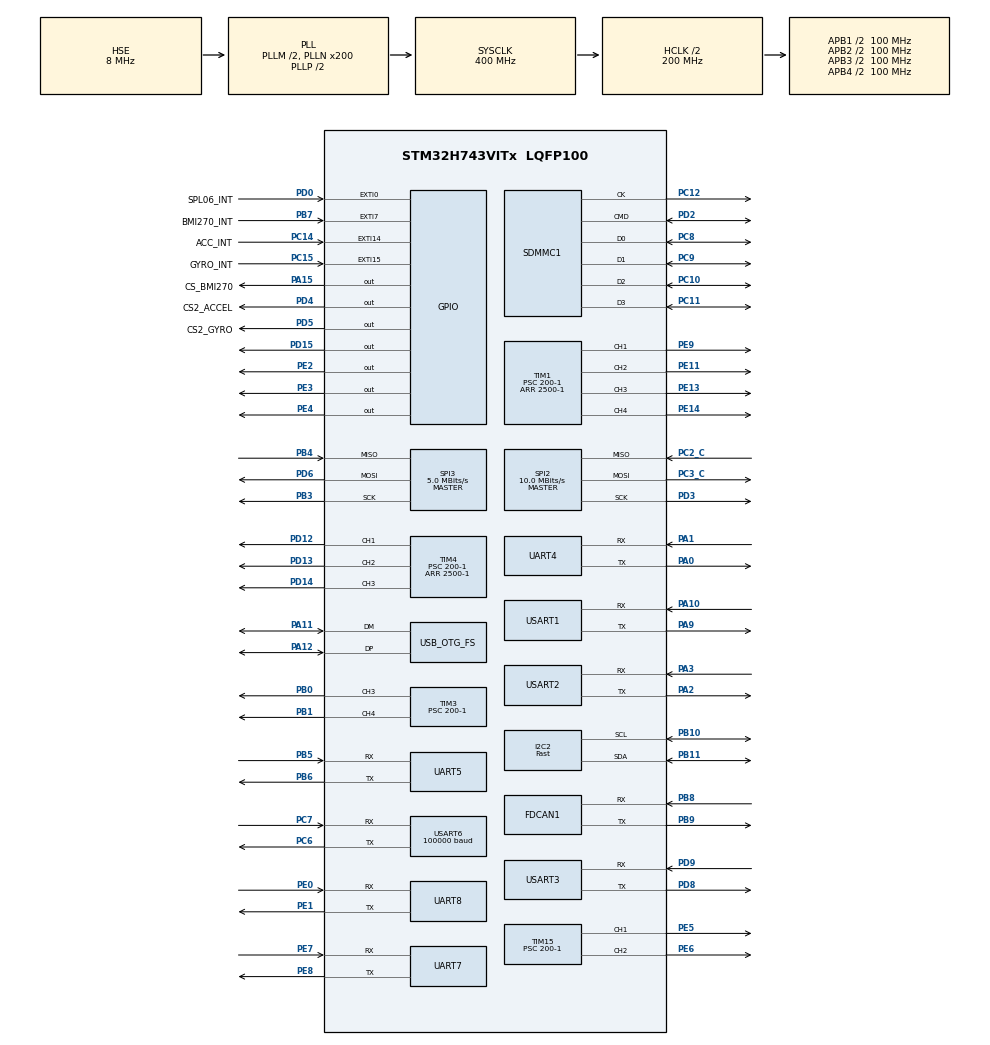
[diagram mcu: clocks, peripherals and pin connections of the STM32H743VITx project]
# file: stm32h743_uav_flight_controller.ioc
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CORTEX_M7.CPU_DCache=Enabled
CORTEX_M7.CPU_ICache=Enabled
CORTEX_M7.default_mode_Activation=0
Dma.I2C2_RX.6.Direction=DMA_PERIPH_TO_MEMORY
Dma.I2C2_RX.6.EventEnable=DISABLE
Dma.I2C2_RX.6.FIFOMode=DMA_FIFOMODE_DISABLE
Dma.I2C2_RX.6.Instance=DMA2_Stream7
Dma.I2C2_RX.6.MemDataAlignment=DMA_MDATAALIGN_BYTE
Dma.I2C2_RX.6.MemInc=DMA_MINC_ENABLE
Dma.I2C2_RX.6.Mode=DMA_NORMAL
Dma.I2C2_RX.6.PeriphDataAlignment=DMA_PDATAALIGN_BYTE
Dma.I2C2_RX.6.PeriphInc=DMA_PINC_DISABLE
Dma.I2C2_RX.6.Polarity=HAL_DMAMUX_REQ_GEN_RISING
Dma.I2C2_RX.6.Priority=DMA_PRIORITY_MEDIUM
Dma.I2C2_RX.6.RequestNumber=1
Dma.I2C2_RX.6.SignalID=NONE
Dma.I2C2_RX.6.SyncEnable=DISABLE
Dma.I2C2_RX.6.SyncPolarity=HAL_DMAMUX_SYNC_NO_EVENT
Dma.I2C2_RX.6.SyncRequestNumber=1
Dma.I2C2_RX.6.SyncSignalID=NONE
Dma.Request0=UART8_RX
Dma.Request1=UART8_TX
Dma.Request10=UART4_RX
Dma.Request11=USART2_RX
Dma.Request12=UART5_RX
Dma.Request13=UART7_RX
Dma.Request2=SPI2_RX
Dma.Request3=SPI2_TX
Dma.Request4=SPI3_RX
Dma.Request5=SPI3_TX
Dma.Request6=I2C2_RX
Dma.Request7=USART6_RX
Dma.Request8=USART1_RX
Dma.Request9=USART3_RX
Dma.SPI2_RX.2.Direction=DMA_PERIPH_TO_MEMORY
Dma.SPI2_RX.2.EventEnable=DISABLE
Dma.SPI2_RX.2.FIFOMode=DMA_FIFOMODE_DISABLE
Dma.SPI2_RX.2.Instance=DMA1_Stream0
Dma.SPI2_RX.2.MemDataAlignment=DMA_MDATAALIGN_BYTE
Dma.SPI2_RX.2.MemInc=DMA_MINC_ENABLE
Dma.SPI2_RX.2.Mode=DMA_NORMAL
Dma.SPI2_RX.2.PeriphDataAlignment=DMA_PDATAALIGN_BYTE
Dma.SPI2_RX.2.PeriphInc=DMA_PINC_DISABLE
Dma.SPI2_RX.2.Polarity=HAL_DMAMUX_REQ_GEN_RISING
Dma.SPI2_RX.2.Priority=DMA_PRIORITY_VERY_HIGH
Dma.SPI2_RX.2.RequestNumber=1
Dma.SPI2_RX.2.SignalID=NONE
Dma.SPI2_RX.2.SyncEnable=DISABLE
Dma.SPI2_RX.2.SyncPolarity=HAL_DMAMUX_SYNC_NO_EVENT
Dma.SPI2_RX.2.SyncRequestNumber=1
Dma.SPI2_RX.2.SyncSignalID=NONE
Dma.SPI2_TX.3.Direction=DMA_MEMORY_TO_PERIPH
Dma.SPI2_TX.3.EventEnable=DISABLE
Dma.SPI2_TX.3.FIFOMode=DMA_FIFOMODE_DISABLE
Dma.SPI2_TX.3.Instance=DMA1_Stream1
Dma.SPI2_TX.3.MemDataAlignment=DMA_MDATAALIGN_BYTE
Dma.SPI2_TX.3.MemInc=DMA_MINC_ENABLE
Dma.SPI2_TX.3.Mode=DMA_NORMAL
Dma.SPI2_TX.3.PeriphDataAlignment=DMA_PDATAALIGN_BYTE
Dma.SPI2_TX.3.PeriphInc=DMA_PINC_DISABLE
Dma.SPI2_TX.3.Polarity=HAL_DMAMUX_REQ_GEN_RISING
Dma.SPI2_TX.3.Priority=DMA_PRIORITY_VERY_HIGH
Dma.SPI2_TX.3.RequestNumber=1
Dma.SPI2_TX.3.SignalID=NONE
Dma.SPI2_TX.3.SyncEnable=DISABLE
Dma.SPI2_TX.3.SyncPolarity=HAL_DMAMUX_SYNC_NO_EVENT
Dma.SPI2_TX.3.SyncRequestNumber=1
Dma.SPI2_TX.3.SyncSignalID=NONE
Dma.SPI3_RX.4.Direction=DMA_PERIPH_TO_MEMORY
Dma.SPI3_RX.4.EventEnable=DISABLE
Dma.SPI3_RX.4.FIFOMode=DMA_FIFOMODE_DISABLE
Dma.SPI3_RX.4.Instance=DMA1_Stream2
Dma.SPI3_RX.4.MemDataAlignment=DMA_MDATAALIGN_BYTE
Dma.SPI3_RX.4.MemInc=DMA_MINC_ENABLE
Dma.SPI3_RX.4.Mode=DMA_NORMAL
Dma.SPI3_RX.4.PeriphDataAlignment=DMA_PDATAALIGN_BYTE
Dma.SPI3_RX.4.PeriphInc=DMA_PINC_DISABLE
Dma.SPI3_RX.4.Polarity=HAL_DMAMUX_REQ_GEN_RISING
Dma.SPI3_RX.4.Priority=DMA_PRIORITY_VERY_HIGH
Dma.SPI3_RX.4.RequestNumber=1
Dma.SPI3_RX.4.SignalID=NONE
Dma.SPI3_RX.4.SyncEnable=DISABLE
Dma.SPI3_RX.4.SyncPolarity=HAL_DMAMUX_SYNC_NO_EVENT
Dma.SPI3_RX.4.SyncRequestNumber=1
Dma.SPI3_RX.4.SyncSignalID=NONE
Dma.SPI3_TX.5.Direction=DMA_MEMORY_TO_PERIPH
Dma.SPI3_TX.5.EventEnable=DISABLE
Dma.SPI3_TX.5.FIFOMode=DMA_FIFOMODE_DISABLE
Dma.SPI3_TX.5.Instance=DMA1_Stream3
Dma.SPI3_TX.5.MemDataAlignment=DMA_MDATAALIGN_BYTE
Dma.SPI3_TX.5.MemInc=DMA_MINC_ENABLE
Dma.SPI3_TX.5.Mode=DMA_NORMAL
Dma.SPI3_TX.5.PeriphDataAlignment=DMA_PDATAALIGN_BYTE
Dma.SPI3_TX.5.PeriphInc=DMA_PINC_DISABLE
Dma.SPI3_TX.5.Polarity=HAL_DMAMUX_REQ_GEN_RISING
Dma.SPI3_TX.5.Priority=DMA_PRIORITY_VERY_HIGH
Dma.SPI3_TX.5.RequestNumber=1
Dma.SPI3_TX.5.SignalID=NONE
Dma.SPI3_TX.5.SyncEnable=DISABLE
Dma.SPI3_TX.5.SyncPolarity=HAL_DMAMUX_SYNC_NO_EVENT
Dma.SPI3_TX.5.SyncRequestNumber=1
Dma.SPI3_TX.5.SyncSignalID=NONE
Dma.UART4_RX.10.Direction=DMA_PERIPH_TO_MEMORY
Dma.UART4_RX.10.EventEnable=DISABLE
Dma.UART4_RX.10.FIFOMode=DMA_FIFOMODE_DISABLE
Dma.UART4_RX.10.Instance=DMA1_Stream6
Dma.UART4_RX.10.MemDataAlignment=DMA_MDATAALIGN_BYTE
Dma.UART4_RX.10.MemInc=DMA_MINC_ENABLE
Dma.UART4_RX.10.Mode=DMA_NORMAL
Dma.UART4_RX.10.PeriphDataAlignment=DMA_PDATAALIGN_BYTE
Dma.UART4_RX.10.PeriphInc=DMA_PINC_DISABLE
Dma.UART4_RX.10.Polarity=HAL_DMAMUX_REQ_GEN_RISING
Dma.UART4_RX.10.Priority=DMA_PRIORITY_MEDIUM
Dma.UART4_RX.10.RequestNumber=1
Dma.UART4_RX.10.SignalID=NONE
Dma.UART4_RX.10.SyncEnable=DISABLE
Dma.UART4_RX.10.SyncPolarity=HAL_DMAMUX_SYNC_NO_EVENT
Dma.UART4_RX.10.SyncRequestNumber=1
Dma.UART4_RX.10.SyncSignalID=NONE
Dma.UART5_RX.12.Direction=DMA_PERIPH_TO_MEMORY
Dma.UART5_RX.12.EventEnable=DISABLE
Dma.UART5_RX.12.FIFOMode=DMA_FIFOMODE_DISABLE
Dma.UART5_RX.12.Instance=DMA2_Stream3
Dma.UART5_RX.12.MemDataAlignment=DMA_MDATAALIGN_BYTE
Dma.UART5_RX.12.MemInc=DMA_MINC_ENABLE
Dma.UART5_RX.12.Mode=DMA_NORMAL
Dma.UART5_RX.12.PeriphDataAlignment=DMA_PDATAALIGN_BYTE
Dma.UART5_RX.12.PeriphInc=DMA_PINC_DISABLE
Dma.UART5_RX.12.Polarity=HAL_DMAMUX_REQ_GEN_RISING
Dma.UART5_RX.12.Priority=DMA_PRIORITY_LOW
Dma.UART5_RX.12.RequestNumber=1
Dma.UART5_RX.12.SignalID=NONE
Dma.UART5_RX.12.SyncEnable=DISABLE
Dma.UART5_RX.12.SyncPolarity=HAL_DMAMUX_SYNC_NO_EVENT
Dma.UART5_RX.12.SyncRequestNumber=1
Dma.UART5_RX.12.SyncSignalID=NONE
Dma.UART7_RX.13.Direction=DMA_PERIPH_TO_MEMORY
Dma.UART7_RX.13.EventEnable=DISABLE
Dma.UART7_RX.13.FIFOMode=DMA_FIFOMODE_DISABLE
Dma.UART7_RX.13.Instance=DMA2_Stream5
Dma.UART7_RX.13.MemDataAlignment=DMA_MDATAALIGN_BYTE
Dma.UART7_RX.13.MemInc=DMA_MINC_ENABLE
Dma.UART7_RX.13.Mode=DMA_NORMAL
Dma.UART7_RX.13.PeriphDataAlignment=DMA_PDATAALIGN_BYTE
Dma.UART7_RX.13.PeriphInc=DMA_PINC_DISABLE
Dma.UART7_RX.13.Polarity=HAL_DMAMUX_REQ_GEN_RISING
Dma.UART7_RX.13.Priority=DMA_PRIORITY_LOW
Dma.UART7_RX.13.RequestNumber=1
Dma.UART7_RX.13.SignalID=NONE
Dma.UART7_RX.13.SyncEnable=DISABLE
Dma.UART7_RX.13.SyncPolarity=HAL_DMAMUX_SYNC_NO_EVENT
Dma.UART7_RX.13.SyncRequestNumber=1
Dma.UART7_RX.13.SyncSignalID=NONE
Dma.UART8_RX.0.Direction=DMA_PERIPH_TO_MEMORY
Dma.UART8_RX.0.EventEnable=DISABLE
Dma.UART8_RX.0.FIFOMode=DMA_FIFOMODE_DISABLE
Dma.UART8_RX.0.Instance=DMA2_Stream0
Dma.UART8_RX.0.MemDataAlignment=DMA_MDATAALIGN_BYTE
Dma.UART8_RX.0.MemInc=DMA_MINC_ENABLE
Dma.UART8_RX.0.Mode=DMA_NORMAL
Dma.UART8_RX.0.PeriphDataAlignment=DMA_PDATAALIGN_BYTE
Dma.UART8_RX.0.PeriphInc=DMA_PINC_DISABLE
Dma.UART8_RX.0.Polarity=HAL_DMAMUX_REQ_GEN_RISING
Dma.UART8_RX.0.Priority=DMA_PRIORITY_LOW
Dma.UART8_RX.0.RequestNumber=1
Dma.UART8_RX.0.SignalID=NONE
Dma.UART8_RX.0.SyncEnable=DISABLE
Dma.UART8_RX.0.SyncPolarity=HAL_DMAMUX_SYNC_NO_EVENT
Dma.UART8_RX.0.SyncRequestNumber=1
Dma.UART8_RX.0.SyncSignalID=NONE
Dma.UART8_TX.1.Direction=DMA_MEMORY_TO_PERIPH
Dma.UART8_TX.1.EventEnable=DISABLE
Dma.UART8_TX.1.FIFOMode=DMA_FIFOMODE_DISABLE
Dma.UART8_TX.1.Instance=DMA2_Stream1
Dma.UART8_TX.1.MemDataAlignment=DMA_MDATAALIGN_BYTE
Dma.UART8_TX.1.MemInc=DMA_MINC_ENABLE
Dma.UART8_TX.1.Mode=DMA_NORMAL
Dma.UART8_TX.1.PeriphDataAlignment=DMA_PDATAALIGN_BYTE
Dma.UART8_TX.1.PeriphInc=DMA_PINC_DISABLE
Dma.UART8_TX.1.Polarity=HAL_DMAMUX_REQ_GEN_RISING
Dma.UART8_TX.1.Priority=DMA_PRIORITY_LOW
Dma.UART8_TX.1.RequestNumber=1
Dma.UART8_TX.1.SignalID=NONE
Dma.UART8_TX.1.SyncEnable=DISABLE
Dma.UART8_TX.1.SyncPolarity=HAL_DMAMUX_SYNC_NO_EVENT
Dma.UART8_TX.1.SyncRequestNumber=1
Dma.UART8_TX.1.SyncSignalID=NONE
Dma.USART1_RX.8.Direction=DMA_PERIPH_TO_MEMORY
Dma.USART1_RX.8.EventEnable=DISABLE
Dma.USART1_RX.8.FIFOMode=DMA_FIFOMODE_DISABLE
Dma.USART1_RX.8.Instance=DMA1_Stream5
Dma.USART1_RX.8.MemDataAlignment=DMA_MDATAALIGN_BYTE
Dma.USART1_RX.8.MemInc=DMA_MINC_ENABLE
Dma.USART1_RX.8.Mode=DMA_NORMAL
Dma.USART1_RX.8.PeriphDataAlignment=DMA_PDATAALIGN_BYTE
Dma.USART1_RX.8.PeriphInc=DMA_PINC_DISABLE
Dma.USART1_RX.8.Polarity=HAL_DMAMUX_REQ_GEN_RISING
Dma.USART1_RX.8.Priority=DMA_PRIORITY_HIGH
Dma.USART1_RX.8.RequestNumber=1
Dma.USART1_RX.8.SignalID=NONE
Dma.USART1_RX.8.SyncEnable=DISABLE
Dma.USART1_RX.8.SyncPolarity=HAL_DMAMUX_SYNC_NO_EVENT
Dma.USART1_RX.8.SyncRequestNumber=1
Dma.USART1_RX.8.SyncSignalID=NONE
Dma.USART2_RX.11.Direction=DMA_PERIPH_TO_MEMORY
Dma.USART2_RX.11.EventEnable=DISABLE
Dma.USART2_RX.11.FIFOMode=DMA_FIFOMODE_DISABLE
Dma.USART2_RX.11.Instance=DMA1_Stream7
Dma.USART2_RX.11.MemDataAlignment=DMA_MDATAALIGN_BYTE
Dma.USART2_RX.11.MemInc=DMA_MINC_ENABLE
Dma.USART2_RX.11.Mode=DMA_NORMAL
Dma.USART2_RX.11.PeriphDataAlignment=DMA_PDATAALIGN_BYTE
Dma.USART2_RX.11.PeriphInc=DMA_PINC_DISABLE
Dma.USART2_RX.11.Polarity=HAL_DMAMUX_REQ_GEN_RISING
Dma.USART2_RX.11.Priority=DMA_PRIORITY_LOW
Dma.USART2_RX.11.RequestNumber=1
Dma.USART2_RX.11.SignalID=NONE
Dma.USART2_RX.11.SyncEnable=DISABLE
Dma.USART2_RX.11.SyncPolarity=HAL_DMAMUX_SYNC_NO_EVENT
Dma.USART2_RX.11.SyncRequestNumber=1
Dma.USART2_RX.11.SyncSignalID=NONE
Dma.USART3_RX.9.Direction=DMA_PERIPH_TO_MEMORY
Dma.USART3_RX.9.EventEnable=DISABLE
Dma.USART3_RX.9.FIFOMode=DMA_FIFOMODE_DISABLE
Dma.USART3_RX.9.Instance=DMA2_Stream4
Dma.USART3_RX.9.MemDataAlignment=DMA_MDATAALIGN_BYTE
Dma.USART3_RX.9.MemInc=DMA_MINC_ENABLE
Dma.USART3_RX.9.Mode=DMA_NORMAL
Dma.USART3_RX.9.PeriphDataAlignment=DMA_PDATAALIGN_BYTE
Dma.USART3_RX.9.PeriphInc=DMA_PINC_DISABLE
Dma.USART3_RX.9.Polarity=HAL_DMAMUX_REQ_GEN_RISING
Dma.USART3_RX.9.Priority=DMA_PRIORITY_MEDIUM
Dma.USART3_RX.9.RequestNumber=1
Dma.USART3_RX.9.SignalID=NONE
Dma.USART3_RX.9.SyncEnable=DISABLE
Dma.USART3_RX.9.SyncPolarity=HAL_DMAMUX_SYNC_NO_EVENT
Dma.USART3_RX.9.SyncRequestNumber=1
Dma.USART3_RX.9.SyncSignalID=NONE
Dma.USART6_RX.7.Direction=DMA_PERIPH_TO_MEMORY
Dma.USART6_RX.7.EventEnable=DISABLE
Dma.USART6_RX.7.FIFOMode=DMA_FIFOMODE_DISABLE
Dma.USART6_RX.7.Instance=DMA1_Stream4
Dma.USART6_RX.7.MemDataAlignment=DMA_MDATAALIGN_BYTE
Dma.USART6_RX.7.MemInc=DMA_MINC_ENABLE
Dma.USART6_RX.7.Mode=DMA_NORMAL
Dma.USART6_RX.7.PeriphDataAlignment=DMA_PDATAALIGN_BYTE
Dma.USART6_RX.7.PeriphInc=DMA_PINC_DISABLE
Dma.USART6_RX.7.Polarity=HAL_DMAMUX_REQ_GEN_RISING
Dma.USART6_RX.7.Priority=DMA_PRIORITY_HIGH
Dma.USART6_RX.7.RequestNumber=1
Dma.USART6_RX.7.SignalID=NONE
Dma.USART6_RX.7.SyncEnable=DISABLE
Dma.USART6_RX.7.SyncPolarity=HAL_DMAMUX_SYNC_NO_EVENT
Dma.USART6_RX.7.SyncRequestNumber=1
Dma.USART6_RX.7.SyncSignalID=NONE
FATFS._USE_LFN=3
FDCAN1.AutoRetransmission=ENABLE
FDCAN1.CalculateBaudRateNominal=1000000
FDCAN1.CalculateTimeBitNominal=1000
FDCAN1.CalculateTimeQuantumNominal=50.0
FDCAN1.ExtFiltersNbr=8
FDCAN1.NominalPrescaler=5
FDCAN1.NominalTimeSeg1=15
FDCAN1.NominalTimeSeg2=4
FDCAN1.RxFifo0ElmtsNbr=32
FDCAN1.TxElmtSize=FDCAN_DATA_BYTES_8
FDCAN1.TxFifoQueueElmtsNbr=8
FDCAN1.TxFifoQueueMode=FDCAN_TX_QUEUE_OPERATION
FREERTOS.Tasks01=defaultTask,55,128,StartDefaultTask,Default,NULL,Dynamic,NULL,NULL
I2C2.I2C_Speed_Mode=I2C_Fast
I2C2.Timing=0x00B03FDB
Mcu.Family=STM32H7
Mcu.Name=STM32H743VITx
Mcu.Package=LQFP100
NVIC.DMA1_Stream0_IRQn=true\:5\:0\:false\:false\:true\:true\:false\:true\:true
NVIC.DMA1_Stream1_IRQn=true\:5\:0\:false\:false\:true\:true\:false\:true\:true
NVIC.DMA1_Stream2_IRQn=true\:5\:0\:false\:false\:true\:true\:false\:true\:true
NVIC.DMA1_Stream3_IRQn=true\:5\:0\:false\:false\:true\:true\:false\:true\:true
NVIC.DMA1_Stream4_IRQn=true\:6\:0\:true\:false\:true\:true\:false\:true\:true
NVIC.DMA1_Stream5_IRQn=true\:6\:0\:true\:false\:true\:true\:false\:true\:true
NVIC.DMA1_Stream6_IRQn=true\:7\:0\:true\:false\:true\:true\:false\:true\:true
NVIC.DMA1_Stream7_IRQn=true\:8\:0\:true\:false\:true\:true\:false\:true\:true
NVIC.DMA2_Stream0_IRQn=true\:8\:0\:true\:false\:true\:false\:false\:true\:true
NVIC.DMA2_Stream1_IRQn=true\:8\:0\:true\:false\:true\:false\:false\:true\:true
NVIC.DMA2_Stream3_IRQn=true\:8\:0\:true\:false\:true\:true\:false\:true\:true
NVIC.DMA2_Stream4_IRQn=true\:7\:0\:true\:false\:true\:true\:false\:true\:true
NVIC.DMA2_Stream5_IRQn=true\:8\:0\:true\:false\:true\:true\:false\:true\:true
NVIC.DMA2_Stream7_IRQn=true\:7\:0\:true\:false\:true\:true\:false\:true\:true
NVIC.EXTI0_IRQn=true\:7\:0\:true\:false\:true\:true\:true\:true\:true
NVIC.EXTI15_10_IRQn=true\:1\:0\:false\:false\:true\:false\:true\:true\:true
NVIC.EXTI9_5_IRQn=true\:2\:0\:false\:false\:true\:false\:true\:true\:true
NVIC.FDCAN1_IT0_IRQn=true\:5\:0\:false\:false\:true\:true\:true\:true\:true
NVIC.FDCAN1_IT1_IRQn=true\:5\:0\:false\:false\:true\:true\:true\:true\:true
NVIC.I2C2_ER_IRQn=true\:7\:0\:true\:false\:true\:true\:true\:true\:true
NVIC.I2C2_EV_IRQn=true\:7\:0\:true\:false\:true\:true\:true\:true\:true
NVIC.OTG_FS_IRQn=true\:7\:0\:false\:false\:true\:true\:false\:true\:true
NVIC.PriorityGroup=NVIC_PRIORITYGROUP_4
NVIC.SDMMC1_IRQn=true\:8\:0\:true\:false\:true\:true\:true\:true\:true
NVIC.SPI2_IRQn=true\:5\:0\:false\:false\:true\:true\:false\:true\:true
NVIC.SPI3_IRQn=true\:5\:0\:false\:false\:true\:true\:true\:true\:true
NVIC.TIM17_IRQn=true\:15\:0\:true\:false\:true\:false\:false\:true\:true
NVIC.TIM2_IRQn=true\:0\:0\:true\:false\:true\:false\:true\:true\:true
NVIC.TimeBase=TIM17_IRQn
NVIC.TimeBaseIP=TIM17
NVIC.UART4_IRQn=true\:7\:0\:true\:false\:true\:true\:true\:true\:true
NVIC.UART5_IRQn=true\:8\:0\:true\:false\:true\:true\:true\:true\:true
NVIC.UART7_IRQn=true\:8\:0\:true\:false\:true\:true\:true\:true\:true
NVIC.UART8_IRQn=true\:8\:0\:true\:false\:true\:true\:true\:true\:true
NVIC.USART1_IRQn=true\:6\:0\:true\:false\:true\:true\:true\:true\:true
NVIC.USART2_IRQn=true\:8\:0\:true\:false\:true\:true\:true\:true\:true
NVIC.USART3_IRQn=true\:7\:0\:true\:false\:true\:true\:true\:true\:true
NVIC.USART6_IRQn=true\:6\:0\:true\:false\:true\:true\:true\:true\:true
PA0.Mode=Asynchronous
PA0.PinAttribute=Free
PA0.Signal=UART4_TX
PA1.Mode=Asynchronous
PA1.PinAttribute=Free
PA1.Signal=UART4_RX
PA10.Mode=Asynchronous
PA10.PinAttribute=Free
PA10.Signal=USART1_RX
PA11.Mode=Device_Only
PA11.PinAttribute=Free
PA11.Signal=USB_OTG_FS_DM
PA12.Mode=Device_Only
PA12.PinAttribute=Free
PA12.Signal=USB_OTG_FS_DP
PA13\ (JTMS/SWDIO).Mode=Serial_Wire
PA13\ (JTMS/SWDIO).PinAttribute=Free
PA13\ (JTMS/SWDIO).Signal=DEBUG_JTMS-SWDIO
PA14\ (JTCK/SWCLK).Mode=Serial_Wire
PA14\ (JTCK/SWCLK).PinAttribute=Free
PA14\ (JTCK/SWCLK).Signal=DEBUG_JTCK-SWCLK
PA15\ (JTDI).GPIO_Label=CS_BMI270
PA15\ (JTDI).GPIO_Speed=GPIO_SPEED_FREQ_VERY_HIGH
PA15\ (JTDI).PinAttribute=Free
PA15\ (JTDI).PinState=GPIO_PIN_SET
PA15\ (JTDI).Signal=GPIO_Output
PA2.Mode=Asynchronous
PA2.PinAttribute=Free
PA2.Signal=USART2_TX
PA3.Mode=Asynchronous
PA3.PinAttribute=Free
PA3.Signal=USART2_RX
PA9.Mode=Asynchronous
PA9.PinAttribute=Free
PA9.Signal=USART1_TX
PB0.PinAttribute=Free
PB0.Signal=S_TIM3_CH3
PB1.PinAttribute=Free
PB1.Signal=S_TIM3_CH4
PB10.GPIO_Pu=GPIO_PULLUP
PB10.GPIO_Speed=GPIO_SPEED_FREQ_HIGH
PB10.Mode=I2C
PB10.PinAttribute=Free
PB10.Signal=I2C2_SCL
PB11.GPIO_Pu=GPIO_PULLUP
PB11.GPIO_Speed=GPIO_SPEED_FREQ_HIGH
PB11.Mode=I2C
PB11.PinAttribute=Free
PB11.Signal=I2C2_SDA
PB3\ (JTDO/TRACESWO).GPIO_Speed=GPIO_SPEED_FREQ_VERY_HIGH
PB3\ (JTDO/TRACESWO).Mode=Full_Duplex_Master
PB3\ (JTDO/TRACESWO).Signal=SPI3_SCK
PB4\ (NJTRST).GPIO_Speed=GPIO_SPEED_FREQ_VERY_HIGH
PB4\ (NJTRST).Mode=Full_Duplex_Master
PB4\ (NJTRST).Signal=SPI3_MISO
PB5.Mode=Asynchronous
PB5.Signal=UART5_RX
PB6.Mode=Asynchronous
PB6.Signal=UART5_TX
PB7.GPIO_Label=BMI270_INT
PB7.GPIO_ModeDefaultEXTI=GPIO_MODE_IT_RISING
PB7.GPIO_PuPd=GPIO_PULLUP
PB7.Signal=GPXTI7
PB8.GPIO_PuPd=GPIO_PULLUP
PB8.GPIO_Speed=GPIO_SPEED_FREQ_VERY_HIGH
PB8.Mode=FDCAN_Activate
PB8.Signal=FDCAN1_RX
PB9.GPIO_PuPd=GPIO_PULLUP
PB9.GPIO_Speed=GPIO_SPEED_FREQ_VERY_HIGH
PB9.Mode=FDCAN_Activate
PB9.Signal=FDCAN1_TX
PC10.GPIO_PuPd=GPIO_PULLUP
PC10.Mode=SD_4_bits_Wide_bus
PC10.PinAttribute=Free
PC10.Signal=SDMMC1_D2
PC11.GPIO_PuPd=GPIO_PULLUP
PC11.Mode=SD_4_bits_Wide_bus
PC11.PinAttribute=Free
PC11.Signal=SDMMC1_D3
PC12.Mode=SD_4_bits_Wide_bus
PC12.PinAttribute=Free
PC12.Signal=SDMMC1_CK
PC14-OSC32_IN\ (OSC32_IN).GPIO_Label=ACC_INT
PC14-OSC32_IN\ (OSC32_IN).PinAttribute=Free
PC14-OSC32_IN\ (OSC32_IN).Signal=GPXTI14
PC15-OSC32_OUT\ (OSC32_OUT).GPIO_Label=GYRO_INT
PC15-OSC32_OUT\ (OSC32_OUT).GPIO_ModeDefaultEXTI=GPIO_MODE_IT_RISING
PC15-OSC32_OUT\ (OSC32_OUT).GPIO_PuPd=GPIO_PULLDOWN
PC15-OSC32_OUT\ (OSC32_OUT).PinAttribute=Free
PC15-OSC32_OUT\ (OSC32_OUT).Signal=GPXTI15
PC2_C.GPIO_Speed=GPIO_SPEED_FREQ_VERY_HIGH
PC2_C.Mode=Full_Duplex_Master
PC2_C.PinAttribute=Free
PC2_C.Signal=SPI2_MISO
PC3_C.GPIO_Speed=GPIO_SPEED_FREQ_VERY_HIGH
PC3_C.Mode=Full_Duplex_Master
PC3_C.PinAttribute=Free
PC3_C.Signal=SPI2_MOSI
PC6.GPIO_Speed=GPIO_SPEED_FREQ_HIGH
PC6.Mode=Asynchronous
PC6.PinAttribute=Free
PC6.Signal=USART6_TX
PC7.GPIO_PuPd=GPIO_NOPULL
PC7.GPIO_Speed=GPIO_SPEED_FREQ_HIGH
PC7.Mode=Asynchronous
PC7.PinAttribute=Free
PC7.Signal=USART6_RX
PC8.GPIO_PuPd=GPIO_PULLUP
PC8.Mode=SD_4_bits_Wide_bus
PC8.PinAttribute=Free
PC8.Signal=SDMMC1_D0
PC9.GPIO_PuPd=GPIO_PULLUP
PC9.Mode=SD_4_bits_Wide_bus
PC9.PinAttribute=Free
PC9.Signal=SDMMC1_D1
PD0.GPIO_Label=SPL06_INT
PD0.GPIO_ModeDefaultEXTI=GPIO_MODE_IT_RISING
PD0.GPIO_PuPd=GPIO_PULLDOWN
PD0.PinAttribute=Free
PD0.Signal=GPXTI0
PD12.PinAttribute=Free
PD12.Signal=S_TIM4_CH1
PD13.PinAttribute=Free
PD13.Signal=S_TIM4_CH2
PD14.PinAttribute=Free
PD14.Signal=S_TIM4_CH3
PD15.PinAttribute=Free
PD15.Signal=GPIO_Output
PD2.GPIO_PuPd=GPIO_PULLUP
PD2.Mode=SD_4_bits_Wide_bus
PD2.Signal=SDMMC1_CMD
PD3.GPIO_Speed=GPIO_SPEED_FREQ_VERY_HIGH
PD3.Mode=Full_Duplex_Master
PD3.Signal=SPI2_SCK
PD4.GPIO_Label=CS2_ACCEL
PD4.GPIO_Speed=GPIO_SPEED_FREQ_VERY_HIGH
PD4.PinState=GPIO_PIN_SET
PD4.Signal=GPIO_Output
PD5.GPIO_Label=CS2_GYRO
PD5.GPIO_Speed=GPIO_SPEED_FREQ_VERY_HIGH
PD5.PinState=GPIO_PIN_SET
PD5.Signal=GPIO_Output
PD6.GPIO_Speed=GPIO_SPEED_FREQ_VERY_HIGH
PD6.Mode=Full_Duplex_Master
PD6.Signal=SPI3_MOSI
PD8.Mode=Asynchronous
PD8.PinAttribute=Free
PD8.Signal=USART3_TX
PD9.Mode=Asynchronous
PD9.PinAttribute=Free
PD9.Signal=USART3_RX
PE0.Mode=Asynchronous
PE0.Signal=UART8_RX
PE1.Mode=Asynchronous
PE1.Signal=UART8_TX
PE11.PinAttribute=Free
PE11.Signal=S_TIM1_CH2
PE13.PinAttribute=Free
PE13.Signal=S_TIM1_CH3
PE14.PinAttribute=Free
PE14.Signal=S_TIM1_CH4
PE2.PinAttribute=Free
PE2.Signal=GPIO_Output
PE3.PinAttribute=Free
PE3.Signal=GPIO_Output
PE4.PinAttribute=Free
PE4.Signal=GPIO_Output
PE5.PinAttribute=Free
PE5.Signal=S_TIM15_CH1
PE6.PinAttribute=Free
PE6.Signal=S_TIM15_CH2
PE7.Mode=Asynchronous
PE7.PinAttribute=Free
PE7.Signal=UART7_RX
PE8.Mode=Asynchronous
PE8.PinAttribute=Free
PE8.Signal=UART7_TX
PE9.PinAttribute=Free
PE9.Signal=S_TIM1_CH1
PH0-OSC_IN\ (PH0).Mode=HSE-External-Oscillator
PH0-OSC_IN\ (PH0).PinAttribute=Free
PH0-OSC_IN\ (PH0).Signal=RCC_OSC_IN
PH1-OSC_OUT\ (PH1).Mode=HSE-External-Oscillator
PH1-OSC_OUT\ (PH1).PinAttribute=Free
PH1-OSC_OUT\ (PH1).Signal=RCC_OSC_OUT
ProjectManager.HeapSize=0x2000
ProjectManager.StackSize=0x4000
ProjectManager.TargetToolchain=STM32CubeIDE
RCC.ADCFreq_Value=200000000
RCC.AHBCLKDivider=RCC_HCLK_DIV2
RCC.APB1Freq_Value=100000000
RCC.APB2Freq_Value=100000000
RCC.APB3Freq_Value=100000000
RCC.APB4Freq_Value=100000000
RCC.CortexFreq_Value=400000000
RCC.D1PPRE=RCC_APB3_DIV2
RCC.D2PPRE1=RCC_APB1_DIV2
RCC.D2PPRE2=RCC_APB2_DIV2
RCC.D3PPRE=RCC_APB4_DIV2
RCC.DIVM1=2
RCC.DIVM2=2
RCC.DIVN1=200
RCC.DIVN2=100
RCC.DIVQ1=5
RCC.DIVQ2=4
RCC.DIVR1=8
RCC.FDCANCLockSelection=RCC_FDCANCLKSOURCE_PLL2
RCC.HCLKFreq_Value=200000000
RCC.HSE_VALUE=8000000
RCC.PLL2FRACN=0
RCC.PLL1_VCI_Range-AdvancedSettings=RCC_PLL1VCIRANGE_2
RCC.PLL2_VCI_Range-AdvancedSettings=RCC_PLL2VCIRANGE_2
RCC.PLL3FRACN=0
RCC.PLLFRACN=0
RCC.PLLSourceVirtual=RCC_PLLSOURCE_HSE
RCC.PWR_Regulator_Voltage_Scale=PWR_REGULATOR_VOLTAGE_SCALE1
RCC.SDMMC1CLockSelection=RCC_SDMMCCLKSOURCE_PLL2
RCC.SYSCLKFreq_VALUE=400000000
RCC.SYSCLKSource=RCC_SYSCLKSOURCE_PLLCLK
RCC.USBCLockSelection=RCC_USBCLKSOURCE_HSI48
RCC.USBFreq_Value=48000000
SDMMC1.ClockDiv=40
SDMMC1.HardwareFlowControl=SDMMC_HARDWARE_FLOW_CONTROL_ENABLE
SH.S_TIM15_CH1.0=TIM15_CH1,PWM Generation1 CH1
SH.S_TIM15_CH2.0=TIM15_CH2,PWM Generation2 CH2
SH.S_TIM1_CH1.0=TIM1_CH1,PWM Generation1 CH1
SH.S_TIM1_CH2.0=TIM1_CH2,PWM Generation2 CH2
SH.S_TIM1_CH3.0=TIM1_CH3,PWM Generation3 CH3
SH.S_TIM1_CH4.0=TIM1_CH4,PWM Generation4 CH4
SH.S_TIM3_CH3.0=TIM3_CH3,PWM Generation3 CH3
SH.S_TIM3_CH4.0=TIM3_CH4,PWM Generation4 CH4
SH.S_TIM4_CH1.0=TIM4_CH1,PWM Generation1 CH1
SH.S_TIM4_CH2.0=TIM4_CH2,PWM Generation2 CH2
SH.S_TIM4_CH3.0=TIM4_CH3,PWM Generation3 CH3
SPI2.BaudRatePrescaler=SPI_BAUDRATEPRESCALER_16
SPI2.CLKPhase=SPI_PHASE_1EDGE
SPI2.CLKPolarity=SPI_POLARITY_LOW
SPI2.CalculateBaudRate=10.0 MBits/s
SPI2.DataSize=SPI_DATASIZE_8BIT
SPI2.Direction=SPI_DIRECTION_2LINES
SPI2.Mode=SPI_MODE_MASTER
SPI2.VirtualType=VM_MASTER
SPI3.BaudRatePrescaler=SPI_BAUDRATEPRESCALER_32
SPI3.CalculateBaudRate=5.0 MBits/s
SPI3.DataSize=SPI_DATASIZE_8BIT
SPI3.Direction=SPI_DIRECTION_2LINES
SPI3.Mode=SPI_MODE_MASTER
SPI3.NSSPMode=SPI_NSS_PULSE_DISABLE
SPI3.VirtualType=VM_MASTER
TIM1.AutoReloadPreload=TIM_AUTORELOAD_PRELOAD_ENABLE
TIM1.Channel-PWM\ Generation1\ CH1=TIM_CHANNEL_1
TIM1.Channel-PWM\ Generation2\ CH2=TIM_CHANNEL_2
TIM1.Channel-PWM\ Generation3\ CH3=TIM_CHANNEL_3
TIM1.Channel-PWM\ Generation4\ CH4=TIM_CHANNEL_4
TIM1.Period=2500-1
TIM1.Prescaler=200-1
TIM15.AutoReloadPreload=TIM_AUTORELOAD_PRELOAD_ENABLE
TIM15.Channel-PWM\ Generation1\ CH1=TIM_CHANNEL_1
TIM15.Channel-PWM\ Generation2\ CH2=TIM_CHANNEL_2
TIM15.Period=2500-1
TIM15.Prescaler=200-1
TIM2.Prescaler=199
TIM3.AutoReloadPreload=TIM_AUTORELOAD_PRELOAD_ENABLE
TIM3.Channel-PWM\ Generation3\ CH3=TIM_CHANNEL_3
TIM3.Channel-PWM\ Generation4\ CH4=TIM_CHANNEL_4
TIM3.Period=2500-1
TIM3.Prescaler=200-1
TIM4.AutoReloadPreload=TIM_AUTORELOAD_PRELOAD_ENABLE
TIM4.Channel-PWM\ Generation1\ CH1=TIM_CHANNEL_1
TIM4.Channel-PWM\ Generation2\ CH2=TIM_CHANNEL_2
TIM4.Channel-PWM\ Generation3\ CH3=TIM_CHANNEL_3
TIM4.Period=2500-1
TIM4.Prescaler=200-1
USART1.VirtualMode-Asynchronous=VM_ASYNC
USART2.VirtualMode-Asynchronous=VM_ASYNC
USART3.VirtualMode-Asynchronous=VM_ASYNC
USART6.BaudRate=100000
USART6.OverSampling=UART_OVERSAMPLING_16
USART6.Parity=PARITY_EVEN
USART6.RxPinLevelInvertParam=ADVFEATURE_RXINV_ENABLE
USART6.StopBits=STOPBITS_2
USART6.VirtualMode=VM_ASYNC
USART6.WordLength=WORDLENGTH_9B
USB_DEVICE.CLASS_NAME_FS=CDC
USB_DEVICE.USBD_LPM_ENABLED-CDC_FS=0
USB_DEVICE.VirtualMode-CDC_FS=Cdc
USB_DEVICE.VirtualModeFS=Cdc_FS
USB_OTG_FS.VirtualMode=Device_Only
VP_FATFS_VS_SDIO.Mode=SDIO
VP_FREERTOS_VS_CMSIS_V2.Mode=CMSIS_V2
VP_SYS_VS_tim17.Mode=TIM17
VP_TIM2_VS_ClockSourceINT.Mode=Internal
VP_USB_DEVICE_VS_USB_DEVICE_CDC_FS.Mode=CDC_FS
board=custom

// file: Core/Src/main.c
/* USER CODE BEGIN Header */
/**
  ******************************************************************************
  * @file           : main.c
  * @brief          : Main program body
  ******************************************************************************
  * @attention
  *
  * Copyright (c) 2026 STMicroelectronics.
  * All rights reserved.
  *
  * This software is licensed under terms that can be found in the LICENSE file
  * in the root directory of this software component.
  * If no LICENSE file comes with this software, it is provided AS-IS.
  *
  ******************************************************************************
  */
/* USER CODE END Header */
#include "main.h"
#include "cmsis_os.h"
#include "dma.h"
#include "fatfs.h"
#include "fdcan.h"
#include "i2c.h"
#include "sdmmc.h"
#include "spi.h"
#include "tim.h"
#include "usart.h"
#include "usb_device.h"
#include "gpio.h"

/* USER CODE BEGIN Includes */
#include "bsp_mpu.h"
#include "bsp_init.h"
#include "bsp_timestamp.h"
#include "modules_Message_center.h"
#include "SEGGER_SYSVIEW.h"
/* USER CODE END Includes */

void SystemClock_Config(void);
void PeriphCommonClock_Config(void);
void MX_FREERTOS_Init(void);

int main(void)
{
    /* USER CODE BEGIN 1 */
    Bsp_MPU_Config();
    /* USER CODE END 1 */
    /* Enable the CPU Cache */

    /* Enable I-Cache---------------------------------------------------------*/
    SCB_EnableICache();

    /* Enable D-Cache---------------------------------------------------------*/
    SCB_EnableDCache();

    /* MCU Configuration--------------------------------------------------------*/

    /* Reset of all peripherals, Initializes the Flash interface and the Systick. */
    HAL_Init();

    /* USER CODE BEGIN Init */

    /*
     * 单独启用 MemManage/BusFault/UsageFault，避免所有可配置异常都笼统升级成 HardFault。
     * 配合 fault_diagnostic 可直接看到 CFSR、BFAR、MMFAR 等根因寄存器。
     */
    SCB->SHCSR |= SCB_SHCSR_MEMFAULTENA_Msk | SCB_SHCSR_BUSFAULTENA_Msk | SCB_SHCSR_USGFAULTENA_Msk;

    /* USER CODE END Init */

    /* Configure the system clock */
    SystemClock_Config();

    /* Configure the peripherals common clocks */
    PeriphCommonClock_Config();

    /* Initialize all configured peripherals */
    MX_GPIO_Init();
    MX_DMA_Init();
    MX_UART8_Init();
    MX_SPI2_Init();
    MX_SPI3_Init();
    MX_I2C2_Init();
    MX_SDMMC1_SD_Init();
    MX_FATFS_Init();
    MX_UART4_Init();
    MX_UART5_Init();
    MX_UART7_Init();
    MX_USART1_UART_Init();
    MX_USART2_UART_Init();
    MX_USART3_UART_Init();
    MX_USART6_UART_Init();
    MX_FDCAN1_Init();
    MX_TIM1_Init();
    MX_TIM3_Init();
    MX_TIM4_Init();
    MX_TIM15_Init();
    MX_TIM2_Init();
    /* USER CODE BEGIN 2 */
    Bsp_Init();
    Message_Center_Init();

    SEGGER_SYSVIEW_Conf();
    /* USER CODE END 2 */

    /* Init scheduler */
    osKernelInitialize();

    /* Call init function for freertos objects (in freertos.c) */
    MX_FREERTOS_Init();

    /* Start scheduler */
    osKernelStart();

    /* We should never get here as control is now taken by the scheduler */
    /* Infinite loop */
    while (1)
    {

    }
}

void SystemClock_Config(void)
{
    RCC_OscInitTypeDef RCC_OscInitStruct = {0};
    RCC_ClkInitTypeDef RCC_ClkInitStruct = {0};

    /** Supply configuration update enable
  */
    HAL_PWREx_ConfigSupply(PWR_LDO_SUPPLY);

    /** Configure the main internal regulator output voltage
  */
    __HAL_PWR_VOLTAGESCALING_CONFIG(PWR_REGULATOR_VOLTAGE_SCALE1);

    while (!__HAL_PWR_GET_FLAG(PWR_FLAG_VOSRDY))
    {
    }

    /** Initializes the RCC Oscillators according to the specified parameters
  * in the RCC_OscInitTypeDef structure.
  */
    RCC_OscInitStruct.OscillatorType = RCC_OSCILLATORTYPE_HSI48 | RCC_OSCILLATORTYPE_HSE;
    RCC_OscInitStruct.HSEState       = RCC_HSE_ON;
    RCC_OscInitStruct.HSI48State     = RCC_HSI48_ON;
    RCC_OscInitStruct.PLL.PLLState   = RCC_PLL_ON;
    RCC_OscInitStruct.PLL.PLLSource  = RCC_PLLSOURCE_HSE;
    /*
     * 为降低 H743 对相邻 BMI088 的热影响，CPU 使用 VOS1/400 MHz。
     * PLL1 VCO 为 800 MHz；P 输出 400 MHz，Q 仍保持 160 MHz，
     * 因此 SPI2 仍为 10 MHz，不改变 BMI088 总线时序。
     */
    RCC_OscInitStruct.PLL.PLLM      = 2;
    RCC_OscInitStruct.PLL.PLLN      = 200;
    RCC_OscInitStruct.PLL.PLLP      = 2;
    RCC_OscInitStruct.PLL.PLLQ      = 5;
    RCC_OscInitStruct.PLL.PLLR      = 8;
    RCC_OscInitStruct.PLL.PLLRGE    = RCC_PLL1VCIRANGE_2;
    RCC_OscInitStruct.PLL.PLLVCOSEL = RCC_PLL1VCOWIDE;
    RCC_OscInitStruct.PLL.PLLFRACN  = 0;
    if (HAL_RCC_OscConfig(&RCC_OscInitStruct) != HAL_OK)
    {
        Error_Handler();
    }

    /** Initializes the CPU, AHB and APB buses clocks
  */
    RCC_ClkInitStruct.ClockType = RCC_CLOCKTYPE_HCLK | RCC_CLOCKTYPE_SYSCLK | RCC_CLOCKTYPE_PCLK1 |
                                  RCC_CLOCKTYPE_PCLK2 | RCC_CLOCKTYPE_D3PCLK1 | RCC_CLOCKTYPE_D1PCLK1;
    RCC_ClkInitStruct.SYSCLKSource  = RCC_SYSCLKSOURCE_PLLCLK;
    RCC_ClkInitStruct.SYSCLKDivider = RCC_SYSCLK_DIV1;
    /* CPU 400 MHz，AXI/AHB 200 MHz，APB 100 MHz，符合 VOS1 上限。 */
    RCC_ClkInitStruct.AHBCLKDivider  = RCC_HCLK_DIV2;
    RCC_ClkInitStruct.APB3CLKDivider = RCC_APB3_DIV2;
    RCC_ClkInitStruct.APB1CLKDivider = RCC_APB1_DIV2;
    RCC_ClkInitStruct.APB2CLKDivider = RCC_APB2_DIV2;
    RCC_ClkInitStruct.APB4CLKDivider = RCC_APB4_DIV2;

    if (HAL_RCC_ClockConfig(&RCC_ClkInitStruct, FLASH_LATENCY_4) != HAL_OK)
    {
        Error_Handler();
    }
}

void PeriphCommonClock_Config(void)
{
    RCC_PeriphCLKInitTypeDef PeriphClkInitStruct = {0};

    /** Initializes the peripherals clock
  */
    PeriphClkInitStruct.PeriphClockSelection = RCC_PERIPHCLK_SDMMC | RCC_PERIPHCLK_FDCAN;
    PeriphClkInitStruct.PLL2.PLL2M           = 2;
    PeriphClkInitStruct.PLL2.PLL2N           = 100;
    PeriphClkInitStruct.PLL2.PLL2P           = 2;
    PeriphClkInitStruct.PLL2.PLL2Q           = 4;
    PeriphClkInitStruct.PLL2.PLL2R           = 2;
    PeriphClkInitStruct.PLL2.PLL2RGE         = RCC_PLL2VCIRANGE_2;
    PeriphClkInitStruct.PLL2.PLL2VCOSEL      = RCC_PLL2VCOWIDE;
    PeriphClkInitStruct.PLL2.PLL2FRACN       = 0;
    PeriphClkInitStruct.SdmmcClockSelection  = RCC_SDMMCCLKSOURCE_PLL2;
    PeriphClkInitStruct.FdcanClockSelection  = RCC_FDCANCLKSOURCE_PLL2;
    if (HAL_RCCEx_PeriphCLKConfig(&PeriphClkInitStruct) != HAL_OK)
    {
        Error_Handler();
    }
}

void HAL_TIM_PeriodElapsedCallback(TIM_HandleTypeDef *htim)
{
    /* USER CODE BEGIN Callback 0 */
    if (htim->Instance == TIM2)
    {
        Bsp_Timestamp_Update();
    }
    /* USER CODE END Callback 0 */
    if (htim->Instance == TIM17)
    {
        HAL_IncTick();
    }
}

void Error_Handler(void)
{
    __disable_irq();
    while (1)
    {
    }
}

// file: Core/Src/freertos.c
/* USER CODE BEGIN Header */
/**
  ******************************************************************************
  * File Name          : freertos.c
  * Description        : Code for freertos applications
  ******************************************************************************
  * @attention
  *
  * Copyright (c) 2026 STMicroelectronics.
  * All rights reserved.
  *
  * This software is licensed under terms that can be found in the LICENSE file
  * in the root directory of this software component.
  * If no LICENSE file comes with this software, it is provided AS-IS.
  *
  ******************************************************************************
  */
/* USER CODE END Header */

#include "bsp_RTT.h"
#include "FreeRTOS.h"
#include "task.h"
#include "main.h"
#include "cmsis_os.h"

/* USER CODE BEGIN Includes */
#include "App_SystemInit.h"
#include "App_TaskPriorities.h"
/* USER CODE END Includes */

/* Definitions for defaultTask */
osThreadId_t         defaultTaskHandle;
const osThreadAttr_t defaultTask_attributes = {
    .name       = "defaultTask",
    .stack_size = 512U * 4U,
    .priority   = (osPriority_t)APP_TASK_PRIORITY_BOOTSTRAP,
};

void StartDefaultTask(void *argument);

extern void MX_USB_DEVICE_Init(void);
void        MX_FREERTOS_Init(void); /* (MISRA C 2004 rule 8.1) */

void MX_FREERTOS_Init(void)
{

    /* Create the thread(s) */
    /* creation of defaultTask */
    defaultTaskHandle = osThreadNew(StartDefaultTask, NULL, &defaultTask_attributes);
    configASSERT(defaultTaskHandle != NULL);

}

void StartDefaultTask(void *argument)
{
    (void)argument;

    /* init code for USB_DEVICE */
    MX_USB_DEVICE_Init();
    /* USER CODE BEGIN StartDefaultTask */

    /*
     * 所有会启动 DMA/中断并使用 FromISR API 的模块，都在调度器运行后由此处统一初始化。
     * 初始化完成后删除引导任务，释放其动态栈和 TCB，后续工作由各业务任务承担。
     */
    (void)App_SystemInit();
    vTaskDelete(NULL);

    /* vTaskDelete(NULL) 不会返回；保留死循环满足静态分析工具的控制流要求。 */
    for (;;)
    {
        osDelay(osWaitForever);
    }
    /* USER CODE END StartDefaultTask */
}

/* USER CODE BEGIN Application */

void vApplicationStackOverflowHook(TaskHandle_t xTask, char *pcTaskName)
{
    (void)xTask;
    (void)pcTaskName;
    taskDISABLE_INTERRUPTS();
    for (;;)
    {
    }
}

void vApplicationMallocFailedHook(void)
{
    taskDISABLE_INTERRUPTS();
    for (;;)
    {
    }
}

/* USER CODE END Application */
